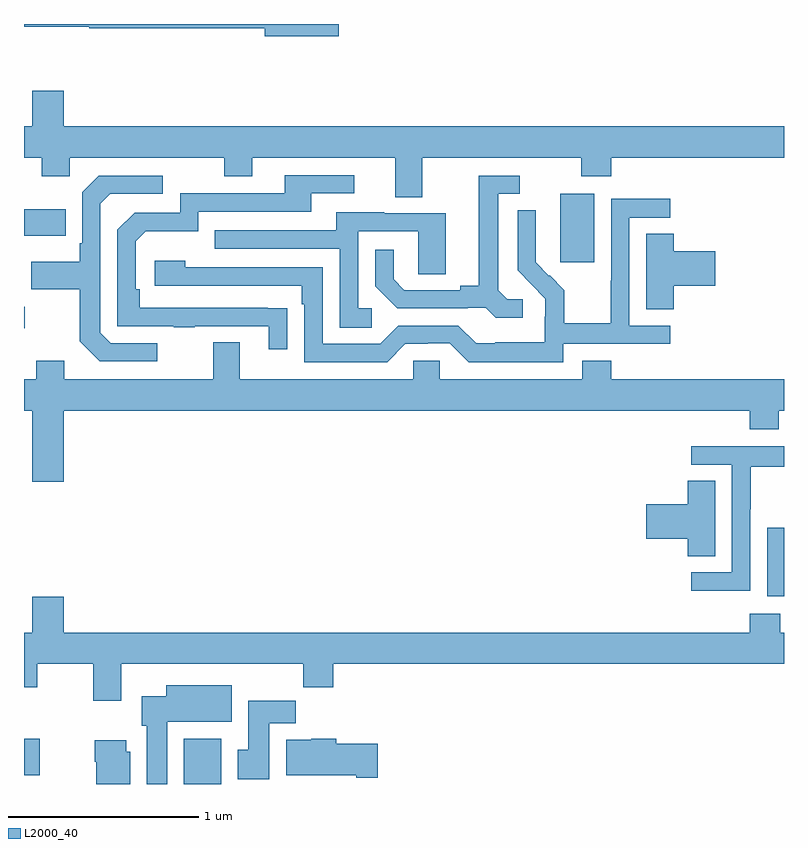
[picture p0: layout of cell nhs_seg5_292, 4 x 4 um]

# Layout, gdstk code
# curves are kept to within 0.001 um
import gdstk
lib = gdstk.Library(unit=1e-6, precision=1e-09)
def R(c, l, rs):  # rectangles x0, y0, x1, y1
    for r in rs: c.add(gdstk.rectangle(r[:2], r[2:], *l))
def P(c, l, *ps):  # polygons
    for p in ps: c.add(gdstk.Polygon(p, *l))
L2000_40 = (2000, 40)

nhs_seg5_292 = lib.new_cell('nhs_seg5_292')
R(nhs_seg5_292, L2000_40, [(129.842,850.799,130.039,851.038), (129,850.844,129.084,851.038), (132.911,851.786,133,852.147), (129,853.197,129.004,853.31), (131.822,853.545,132.001,853.906), (129,853.685,129.221,853.825)])
P(nhs_seg5_292, L2000_40, [(130.657,854.799),(129,854.799),(129,854.784),(129.343,854.784),(129.343,854.776),(130.268,854.776),(130.268,854.734),(130.657,854.734)],
  [(131.095,854.096),(131.932,854.096),(131.932,853.997),(132.092,853.997),(132.092,854.096),(133,854.096),(133,854.26),(129.208,854.26),(129.208,854.449),(129.044,854.449),(129.044,854.26),(129,854.26),(129,854.096),(129.094,854.096),(129.094,853.997),(129.24,853.997),(129.24,854.096),(130.054,854.096),(130.054,853.997),(130.201,853.997),(130.201,854.096),(130.955,854.096),(130.955,853.888),(131.095,853.888)],
  [(130.385,853.304),(129.608,853.305),(129.608,853.402),(129.588,853.402),(129.588,853.656),(129.641,853.709),(129.918,853.709),(129.918,853.812),(130.513,853.812),(130.513,853.908),(130.738,853.908),(130.738,854.004),(130.373,854.004),(130.373,853.908),(129.822,853.908),(129.822,853.806),(129.582,853.806),(129.492,853.716),(129.492,853.209),(129.787,853.209),(129.787,853.204),(129.899,853.204),(129.899,853.209),(130.289,853.209),(130.289,853.086),(130.385,853.086)],
  [(129.7,853.119),(129.456,853.119),(129.402,853.173),(129.402,853.854),(129.453,853.905),(129.73,853.905),(129.73,854.001),(129.393,854.001),(129.306,853.914),(129.306,853.645),(129.294,853.645),(129.294,853.549),(129.037,853.549),(129.037,853.402),(129.294,853.402),(129.294,853.129),(129.399,853.023),(129.7,853.023)],
  [(131.626,853.35),(131.544,853.35),(131.497,853.397),(131.497,853.905),(131.608,853.905),(131.608,854.001),(131.393,854.001),(131.393,853.421),(131.297,853.421),(131.297,853.398),(131.002,853.398),(130.945,853.455),(130.945,853.612),(130.848,853.612),(130.848,853.418),(130.964,853.302),(131.336,853.302),(131.336,853.305),(131.43,853.305),(131.482,853.253),(131.626,853.253)],
  [(131.838,853.116),(132.4,853.116),(132.4,853.212),(132.186,853.212),(132.186,853.779),(132.4,853.779),(132.4,853.878),(132.09,853.878),(132.09,853.448),(132.088,853.448),(132.088,853.225),(131.843,853.225),(131.843,853.399),(131.766,853.476),(131.763,853.473),(131.693,853.544),(131.694,853.82),(131.598,853.82),(131.598,853.502),(131.744,853.354),(131.744,853.257),(131.742,853.257),(131.742,853.123),(131.479,853.123),(131.479,853.119),(131.379,853.119),(131.286,853.212),(130.971,853.212),(130.875,853.116),(130.572,853.116),(130.572,853.518),(129.848,853.518),(129.848,853.552),(129.687,853.552),(129.687,853.422),(130.463,853.422),(130.463,853.325),(130.476,853.325),(130.476,853.02),(130.911,853.02),(131.007,853.116),(131.126,853.116),(131.126,853.119),(131.241,853.119),(131.341,853.019),(131.838,853.019)],
  [(130.831,853.302),(130.758,853.302),(130.758,853.707),(131.076,853.707),(131.076,853.483),(131.221,853.483),(131.221,853.803),(130.897,853.803),(130.897,853.807),(130.643,853.807),(130.643,853.713),(130.003,853.713),(130.003,853.617),(130.662,853.617),(130.662,853.201),(130.831,853.201)],
  [(132.419,853.421),(132.637,853.421),(132.637,853.604),(132.419,853.604),(132.419,853.694),(132.275,853.694),(132.275,853.297),(132.419,853.297)],
  [(129.064,852.928),(129,852.928),(129,852.764),(129.044,852.764),(129.044,852.39),(129.208,852.39),(129.208,852.764),(132.821,852.764),(132.821,852.665),(132.973,852.665),(132.973,852.764),(133,852.764),(133,852.928),(132.092,852.928),(132.092,853.027),(131.939,853.027),(131.939,852.928),(131.187,852.928),(131.187,853.026),(131.049,853.026),(131.049,852.928),(130.135,852.928),(130.135,853.123),(129.995,853.123),(129.995,852.928),(129.211,852.928),(129.211,853.027),(129.064,853.027)],
  [(132.822,852.244),(132.825,852.244),(132.825,852.468),(133,852.468),(133,852.576),(132.513,852.576),(132.513,852.48),(132.726,852.48),(132.726,851.913),(132.513,851.913),(132.513,851.815),(132.822,851.815)],
  [(132.637,852.395),(132.494,852.395),(132.494,852.272),(132.276,852.272),(132.276,852.089),(132.494,852.089),(132.494,851.998),(132.637,851.998)],
  [(129.511,851.432),(130.471,851.432),(130.471,851.308),(130.628,851.308),(130.628,851.432),(133,851.432),(133,851.596),(132.981,851.596),(132.981,851.695),(132.821,851.695),(132.821,851.596),(129.208,851.596),(129.208,851.785),(129.044,851.785),(129.044,851.596),(129,851.596),(129,851.308),(129.069,851.308),(129.069,851.432),(129.364,851.432),(129.364,851.238),(129.511,851.238)],
  [(129.754,851.126),(130.093,851.126),(130.093,851.32),(129.749,851.32),(129.749,851.26),(129.62,851.26),(129.62,851.106),(129.647,851.106),(129.647,850.799),(129.754,850.799)],
  [(130.291,851.12),(130.43,851.12),(130.43,851.238),(130.181,851.238),(130.181,850.98),(130.124,850.98),(130.124,850.824),(130.291,850.824)],
  [(130.861,851.01),(130.643,851.01),(130.643,851.038),(130.512,851.038),(130.512,851.032),(130.379,851.032),(130.379,850.844),(130.748,850.844),(130.748,850.832),(130.861,850.832)],
  [(129.559,850.968),(129.538,850.968),(129.538,851.029),(129.373,851.029),(129.373,850.916),(129.38,850.916),(129.38,850.799),(129.559,850.799)])

lib.write_gds('nhs_seg5_292.gds')
